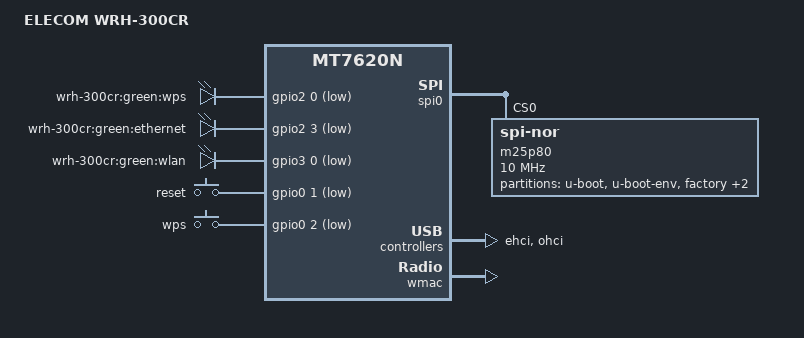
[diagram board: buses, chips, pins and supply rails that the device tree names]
/dts-v1/;

#include "mt7620n.dtsi"

#include <dt-bindings/gpio/gpio.h>
#include <dt-bindings/input/input.h>

/ {
	compatible = "elecom,wrh-300cr", "ralink,mt7620n-soc";
	model = "ELECOM WRH-300CR";

		gpio-leds {
		compatible = "gpio-leds";

		wps {
			label = "wrh-300cr:green:wps";
			gpios = <&gpio2 0 GPIO_ACTIVE_LOW>;
		};

		ethernet {
			label = "wrh-300cr:green:ethernet";
			gpios = <&gpio2 3 GPIO_ACTIVE_LOW>;
		};

		wlan {
			label = "wrh-300cr:green:wlan";
			gpios = <&gpio3 0 GPIO_ACTIVE_LOW>;
		};
	};

	gpio-keys-polled {
		compatible = "gpio-keys-polled";
		#address-cells = <1>;
		#size-cells = <0>;
		poll-interval = <20>;

		reset {
			label = "reset";
			gpios = <&gpio0 1 GPIO_ACTIVE_LOW>;
			linux,code = <KEY_RESTART>;
		};

		wps {
			label = "wps";
			gpios = <&gpio0 2 GPIO_ACTIVE_LOW>;
			linux,code = <KEY_WPS_BUTTON>;
		};
	};
};

&gpio1 {
	status = "okay";
};

&gpio2 {
	status = "okay";
};

&gpio3 {
	status = "okay";
};

&spi0 {
	status = "okay";

	m25p80@0 {
		#address-cells = <1>;
		#size-cells = <1>;
		compatible = "jedec,spi-nor";
		reg = <0>;
		spi-max-frequency = <10000000>;

		partition@0 {
			label = "u-boot";
			reg = <0x0 0x30000>;
			read-only;
		};

		partition@30000 {
			label = "u-boot-env";
			reg = <0x30000 0x10000>;
		};

		factory: partition@40000 {
			label = "factory";
			reg = <0x40000 0x10000>;
			read-only;
		};

		partition@50000 {
			label = "recover";
			reg = <0x50000 0x1c0000>;
			read-only;
		};

		partition@210000 {
			label = "firmware";
			reg = <0x210000 0xdf0000>;
		};
	};
};

&ehci {
	status = "okay";
};

&ohci {
	status = "okay";
};

&ethernet {
	mtd-mac-address = <&factory 0x2e>;
	mediatek,portmap = "llllw";
};

&wmac {
	ralink,mtd-eeprom = <&factory 0>;
};

&pinctrl {
	state_default: pinctrl0 {
		default {
			ralink,group = "i2c", "ephy", "wled";
			ralink,function = "gpio";
		};
	};
};
